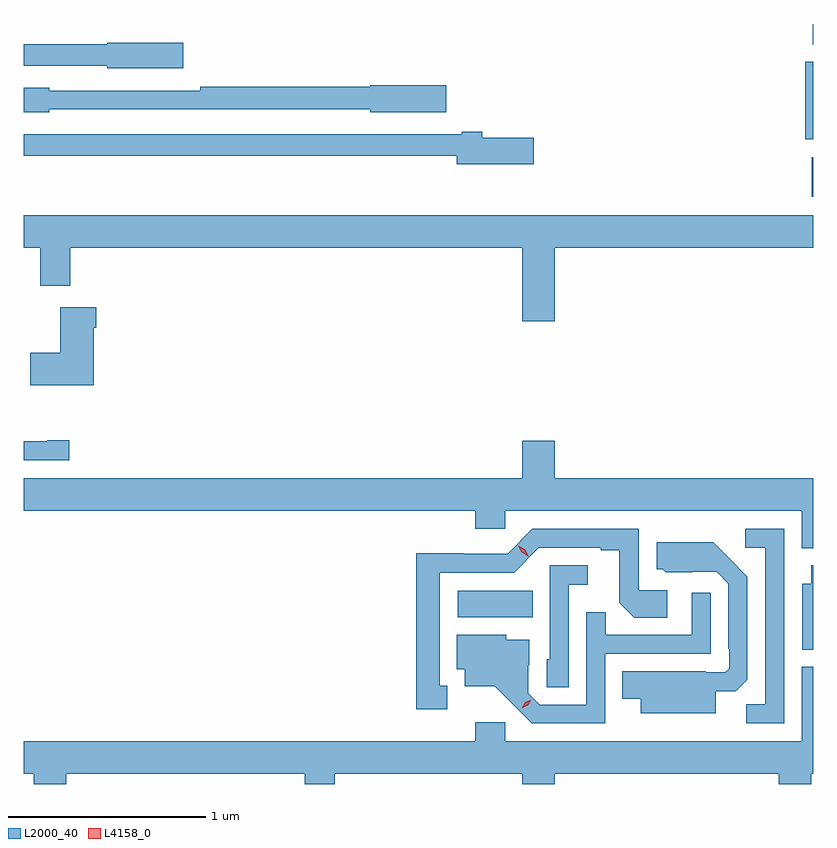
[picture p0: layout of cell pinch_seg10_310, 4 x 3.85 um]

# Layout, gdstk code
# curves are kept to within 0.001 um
import gdstk
lib = gdstk.Library(unit=1e-6, precision=1e-09)
def R(c, l, rs):  # rectangles x0, y0, x1, y1
    for r in rs: c.add(gdstk.rectangle(r[:2], r[2:], *l))
def P(c, l, *ps):  # polygons
    for p in ps: c.add(gdstk.Polygon(p, *l))
L2000_40 = (2000, 40)
L4158_0 = (4158, 0)

pinch_seg10_310 = lib.new_cell('pinch_seg10_310')
R(pinch_seg10_310, L2000_40, [(416.43,1274.468,416.81,1274.602), (418.223,1276.599,418.231,1276.798), (418.19,1276.889,418.231,1277.281), (418.227,1277.369,418.231,1277.473)])
P(pinch_seg10_310, L2000_40, [(415.039,1277.379),(414.654,1277.379),(414.654,1277.371),(414.231,1277.371),(414.231,1277.262),(414.654,1277.262),(414.654,1277.249),(415.039,1277.249)],
  [(414.36,1277.04),(415.986,1277.04),(415.986,1277.027),(416.371,1277.027),(416.371,1277.162),(415.986,1277.162),(415.986,1277.156),(415.126,1277.156),(415.126,1277.136),(414.36,1277.136),(414.36,1277.149),(414.231,1277.149),(414.231,1277.027),(414.36,1277.027)],
  [(416.815,1276.898),(416.554,1276.898),(416.554,1276.927),(416.45,1276.927),(416.45,1276.914),(414.231,1276.914),(414.231,1276.806),(416.426,1276.806),(416.426,1276.763),(416.815,1276.763)],
  [(416.92,1276.34),(418.231,1276.34),(418.231,1276.504),(414.231,1276.504),(414.231,1276.34),(414.314,1276.34),(414.314,1276.146),(414.467,1276.146),(414.467,1276.34),(416.756,1276.34),(416.756,1275.966),(416.92,1275.966)],
  [(414.586,1275.935),(414.599,1275.935),(414.599,1276.039),(414.416,1276.039),(414.416,1275.807),(414.264,1275.807),(414.264,1275.644),(414.586,1275.644)],
  [(414.463,1275.365),(414.35,1275.365),(414.35,1275.36),(414.231,1275.36),(414.231,1275.264),(414.463,1275.264)],
  [(418.231,1275.172),(416.92,1275.172),(416.92,1275.361),(416.756,1275.361),(416.756,1275.172),(414.231,1275.172),(414.231,1275.008),(416.519,1275.008),(416.519,1274.915),(416.67,1274.915),(416.67,1275.008),(418.172,1275.008),(418.172,1274.816),(418.231,1274.816)],
  [(416.377,1274.121),(416.338,1274.121),(416.338,1274.694),(416.715,1274.694),(416.841,1274.82),(417.155,1274.82),(417.155,1274.808),(417.249,1274.808),(417.249,1274.54),(417.325,1274.464),(417.49,1274.464),(417.49,1274.604),(417.348,1274.604),(417.348,1274.916),(416.808,1274.916),(416.682,1274.79),(416.46,1274.79),(416.46,1274.792),(416.22,1274.792),(416.22,1274.001),(416.377,1274.001)],
  [(418.083,1274.916),(417.885,1274.916),(417.885,1274.82),(417.987,1274.82),(417.987,1274.027),(417.892,1274.027),(417.892,1273.932),(418.083,1273.932)],
  [(417.736,1274.093),(417.838,1274.093),(417.897,1274.152),(417.897,1274.674),(417.725,1274.848),(417.437,1274.848),(417.437,1274.712),(417.468,1274.712),(417.484,1274.696),(417.741,1274.697),(417.801,1274.637),(417.801,1274.308),(417.804,1274.308),(417.804,1274.208),(417.786,1274.19),(417.686,1274.19),(417.686,1274.194),(417.262,1274.194),(417.262,1274.054),(417.356,1274.054),(417.356,1273.982),(417.736,1273.982)],
  [(418.231,1274.731),(418.22,1274.731),(418.22,1274.638),(418.175,1274.638),(418.175,1274.303),(418.231,1274.303)],
  [(416.991,1274.633),(417.088,1274.633),(417.088,1274.73),(416.895,1274.73),(416.895,1274.256),(416.88,1274.256),(416.88,1274.113),(416.991,1274.113)],
  [(417.177,1274.283),(417.711,1274.283),(417.711,1274.593),(417.615,1274.593),(417.615,1274.379),(417.179,1274.379),(417.179,1274.492),(417.081,1274.492),(417.081,1274.025),(416.844,1274.025),(416.787,1274.082),(416.787,1274.224),(416.791,1274.224),(416.791,1274.353),(416.676,1274.353),(416.676,1274.38),(416.426,1274.38),(416.426,1274.204),(416.465,1274.204),(416.465,1274.117),(416.617,1274.117),(416.804,1273.932),(417.177,1273.932)],
  [(414.446,1273.676),(415.656,1273.676),(415.656,1273.623),(415.808,1273.623),(415.808,1273.676),(416.756,1273.676),(416.756,1273.623),(416.92,1273.623),(416.92,1273.676),(418.055,1273.676),(418.055,1273.623),(418.22,1273.623),(418.22,1273.676),(418.231,1273.676),(418.231,1274.218),(418.172,1274.218),(418.172,1273.84),(416.67,1273.84),(416.67,1273.936),(416.519,1273.936),(416.519,1273.84),(414.231,1273.84),(414.231,1273.676),(414.281,1273.676),(414.281,1273.623),(414.446,1273.623)])
P(pinch_seg10_310, L4158_0, [(416.754,1274.006),(416.754,1274.007),(416.771,1274.036),(416.802,1274.05),(416.802,1274.05),(416.802,1274.05),(416.784,1274.021),(416.754,1274.006)],
  [(416.786,1274.778),(416.754,1274.797),(416.736,1274.829),(416.736,1274.83),(416.736,1274.83),(416.768,1274.811),(416.786,1274.779),(416.786,1274.778)])

lib.write_gds('pinch_seg10_310.gds')
